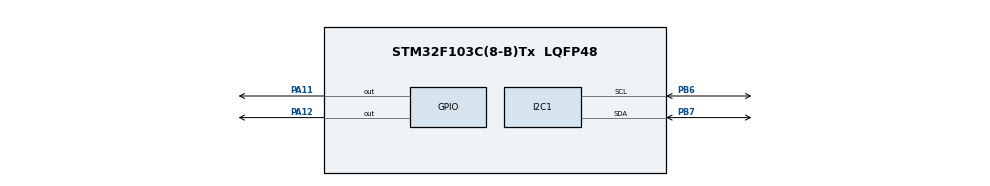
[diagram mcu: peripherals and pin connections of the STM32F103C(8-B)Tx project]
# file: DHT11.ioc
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Mcu.Family=STM32F1
Mcu.Name=STM32F103C(8-B)Tx
Mcu.Package=LQFP48
NVIC.PriorityGroup=NVIC_PRIORITYGROUP_4
PA11.GPIO_Speed=GPIO_SPEED_FREQ_HIGH
PA11.Signal=GPIO_Output
PA12.Signal=GPIO_Output
PA13.Mode=Serial_Wire
PA13.Signal=SYS_JTMS-SWDIO
PA14.Mode=Serial_Wire
PA14.Signal=SYS_JTCK-SWCLK
PB6.GPIO_Mode=GPIO_MODE_AF_OD
PB6.Mode=I2C
PB6.Signal=I2C1_SCL
PB7.GPIO_Mode=GPIO_MODE_AF_OD
PB7.Mode=I2C
PB7.Signal=I2C1_SDA
PD0-OSC_IN.Mode=HSE-External-Oscillator
PD0-OSC_IN.Signal=RCC_OSC_IN
PD1-OSC_OUT.Mode=HSE-External-Oscillator
PD1-OSC_OUT.Signal=RCC_OSC_OUT
ProjectManager.HeapSize=0x200
ProjectManager.StackSize=0x400
ProjectManager.TargetToolchain=STM32CubeIDE
RCC.APB1Freq_Value=8000000
RCC.APB2Freq_Value=8000000
RTC.Format=RTC_FORMAT_BIN
TIM2.AutoReloadPreload=TIM_AUTORELOAD_PRELOAD_ENABLE
TIM2.Period=65535
TIM2.Prescaler=7
VP_RTC_VS_RTC_Activate.Mode=RTC_Enabled
VP_RTC_VS_RTC_Calendar.Mode=RTC_Calendar
VP_TIM2_VS_ClockSourceINT.Mode=Internal
board=custom

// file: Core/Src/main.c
/* USER CODE BEGIN Header */
/**
  ******************************************************************************
  * @file           : main.c
  * @brief          : Main program body
  ******************************************************************************
  * @attention
  *
  * Copyright (c) 2026 STMicroelectronics.
  * All rights reserved.
  *
  * This software is licensed under terms that can be found in the LICENSE file
  * in the root directory of this software component.
  * If no LICENSE file comes with this software, it is provided AS-IS.
  *
  ******************************************************************************
  */
/* USER CODE END Header */
#include "main.h"
#include "i2c.h"
#include "rtc.h"
#include "tim.h"
#include "gpio.h"

/* USER CODE BEGIN Includes */
#include "i2c.h"
#include "tim.h"
#include "gpio.h"
#include <stdio.h>
#include "i2c_lcd.h"
/* USER CODE END Includes */

/* USER CODE BEGIN PV */
uint8_t Rh_byte1, Rh_byte2, Temp_byte1, Temp_byte2;
uint16_t SUM, RH, TEMP;
uint8_t bits[40];
uint8_t data[5] = {0};
int humidity;
int temperature;
I2C_LCD_HandleTypeDef lcd1;
RTC_TimeTypeDef sTime;
RTC_DateTypeDef sDate;
char time_buffer[16];
char date_buffer[16];
/* USER CODE END PV */

void SystemClock_Config(void);
/* USER CODE BEGIN PFP */
void delay_us (uint16_t us);
void set_pin_output (GPIO_TypeDef *GPIOx, uint16_t Pin);
void set_pin_input (GPIO_TypeDef *GPIOx, uint16_t Pin);
//void DHT11_Start (GPIO_TypeDef *GPIOx, uint16_t Pin);
uint8_t DHT11_Start (GPIO_TypeDef *GPIOx, uint16_t Pin);
uint8_t DHT11_Response(GPIO_TypeDef *GPIOx, uint16_t Pin);
uint8_t DHT11_Read (GPIO_TypeDef *GPIOx, uint16_t Pin);
void DHT11_Read_40bits(GPIO_TypeDef *GPIOx, uint16_t Pin);
void DHT11_Bits_To_Bytes();
void convert_to_real_data(uint8_t data[]);
void init_lcd(void);
void Buzzer(GPIO_TypeDef *GPIOx, uint16_t Pin,uint16_t ms);
/* USER CODE END PFP */

int main(void)
{

  /* MCU Configuration--------------------------------------------------------*/

  /* Reset of all peripherals, Initializes the Flash interface and the Systick. */
  HAL_Init();

  /* Configure the system clock */
  SystemClock_Config();

  /* Initialize all configured peripherals */
  MX_GPIO_Init();
  MX_TIM2_Init();
  MX_I2C1_Init();
  MX_RTC_Init();
  /* USER CODE BEGIN 2 */
  HAL_TIM_Base_Start(&htim2); // Kích hoạt Timer 2 ở chế độ đếm cơ bản
  // Khởi tạo lcd
  init_lcd();
  lcd_clear(&lcd1);
  char lcd_buffer[20];

  /* USER CODE END 2 */

  /* Infinite loop */
  /* USER CODE BEGIN WHILE */
  while (1)
  {
	if(DHT11_Start(GPIOA,GPIO_PIN_11))
	{
		__disable_irq();
		DHT11_Read_40bits(GPIOA,GPIO_PIN_11);
		__enable_irq();
		DHT11_Bits_To_Bytes();
		convert_to_real_data(data);
		sprintf(lcd_buffer, "Temperature: %d%cC   ", temperature,0xDF);
		lcd_gotoxy(&lcd1,0, 0);      // Nhảy về dòng 0, cột 0
		lcd_puts(&lcd1,lcd_buffer);
		sprintf(lcd_buffer, "Humidity: %.d%%    ", humidity);
		lcd_gotoxy(&lcd1,0, 1);      // Nhảy về dòng 1, cột 0
		lcd_puts(&lcd1,lcd_buffer);

		HAL_RTC_GetTime(&hrtc, &sTime, RTC_FORMAT_BIN);
		HAL_RTC_GetDate(&hrtc, &sDate, RTC_FORMAT_BIN);

		/* 2. Hiển thị Ngày tháng lên dòng 0 */
		// Định dạng: Ngày/Tháng/Năm
		sprintf(date_buffer, "Date: %02d/%02d/%02d", sDate.Date, sDate.Month, sDate.Year);
		lcd_gotoxy(&lcd1,0, 2);      // Nhảy về dòng 2, cột 0
		lcd_puts(&lcd1,date_buffer);

		/* 3. Hiển thị Giờ phút giây lên dòng 1 */
		// Định dạng: Giờ:Phút:Giây
		sprintf(time_buffer, "Time: %02d:%02d:%02d", sTime.Hours, sTime.Minutes, sTime.Seconds);
		lcd_gotoxy(&lcd1,0, 3);      // Nhảy về dòng 3, cột 0
		lcd_puts(&lcd1,time_buffer);

		/* Buzzer temperature > 30 || humidity < 80 */
		if (temperature > 30 || humidity < 65)
		{
			Buzzer(GPIOA, GPIO_PIN_12, 100);
		}
	}

	HAL_Delay(1000); // đọc 1 giây 1 lần
    /* USER CODE END WHILE */

  }
}

void SystemClock_Config(void)
{
  RCC_OscInitTypeDef RCC_OscInitStruct = {0};
  RCC_ClkInitTypeDef RCC_ClkInitStruct = {0};
  RCC_PeriphCLKInitTypeDef PeriphClkInit = {0};

  /** Initializes the RCC Oscillators according to the specified parameters
  * in the RCC_OscInitTypeDef structure.
  */
  RCC_OscInitStruct.OscillatorType = RCC_OSCILLATORTYPE_HSI|RCC_OSCILLATORTYPE_LSI;
  RCC_OscInitStruct.HSIState = RCC_HSI_ON;
  RCC_OscInitStruct.HSICalibrationValue = RCC_HSICALIBRATION_DEFAULT;
  RCC_OscInitStruct.LSIState = RCC_LSI_ON;
  RCC_OscInitStruct.PLL.PLLState = RCC_PLL_NONE;
  if (HAL_RCC_OscConfig(&RCC_OscInitStruct) != HAL_OK)
  {
    Error_Handler();
  }

  /** Initializes the CPU, AHB and APB buses clocks
  */
  RCC_ClkInitStruct.ClockType = RCC_CLOCKTYPE_HCLK|RCC_CLOCKTYPE_SYSCLK
                              |RCC_CLOCKTYPE_PCLK1|RCC_CLOCKTYPE_PCLK2;
  RCC_ClkInitStruct.SYSCLKSource = RCC_SYSCLKSOURCE_HSI;
  RCC_ClkInitStruct.AHBCLKDivider = RCC_SYSCLK_DIV1;
  RCC_ClkInitStruct.APB1CLKDivider = RCC_HCLK_DIV1;
  RCC_ClkInitStruct.APB2CLKDivider = RCC_HCLK_DIV1;

  if (HAL_RCC_ClockConfig(&RCC_ClkInitStruct, FLASH_LATENCY_0) != HAL_OK)
  {
    Error_Handler();
  }
  PeriphClkInit.PeriphClockSelection = RCC_PERIPHCLK_RTC;
  PeriphClkInit.RTCClockSelection = RCC_RTCCLKSOURCE_LSI;
  if (HAL_RCCEx_PeriphCLKConfig(&PeriphClkInit) != HAL_OK)
  {
    Error_Handler();
  }
}

/* USER CODE BEGIN 4 */

// Delay Micro giây (µs)
void delay_us (uint16_t us)
{
  __HAL_TIM_SET_COUNTER(&htim2, 0);  // Reset counter về 0
  while (__HAL_TIM_GET_COUNTER(&htim2) < us);  // Đợi cho đến khi đạt số us
}

//
void set_pin_output (GPIO_TypeDef *GPIOx, uint16_t Pin)
{
  GPIO_InitTypeDef GPIO_InitStruct = {0};
  GPIO_InitStruct.Pin = Pin;
  GPIO_InitStruct.Mode = GPIO_MODE_OUTPUT_PP;
  GPIO_InitStruct.Speed = GPIO_SPEED_FREQ_LOW;
  HAL_GPIO_Init(GPIOx, &GPIO_InitStruct);
}

void set_pin_input (GPIO_TypeDef *GPIOx, uint16_t Pin)
{
  GPIO_InitTypeDef GPIO_InitStruct = {0};
  GPIO_InitStruct.Pin = Pin;
  GPIO_InitStruct.Mode = GPIO_MODE_INPUT;
  GPIO_InitStruct.Pull = GPIO_PULLUP;
  HAL_GPIO_Init(GPIOx, &GPIO_InitStruct);
}

//đọc dữ liệu DHT11

uint8_t DHT11_Start(GPIO_TypeDef *GPIOx, uint16_t Pin)
{
	uint8_t response = 0;
	uint16_t timeout = 0;
  set_pin_output(GPIOx, Pin);  // Set PA1 là Output
  HAL_GPIO_WritePin (GPIOx, Pin, 0);   // Kéo xuống 0
  HAL_Delay (20);   // Đợi 18ms theo datasheet
  HAL_GPIO_WritePin (GPIOx, Pin, 1);   // Kéo lên 1
  delay_us (20);    // Đợi 30us
  set_pin_input(GPIOx, Pin);    // Chuyển sang Input để nhận phản hồi

  while (!(HAL_GPIO_ReadPin (GPIOx, Pin)) && timeout < 100) {
  		timeout++;
  		delay_us(1);
  	}
//  if(!(HAL_GPIO_ReadPin(GPIOx, Pin)))
//  {
//	  delay_us(80);
	timeout=0;
	while ((HAL_GPIO_ReadPin (GPIOx, Pin)) && timeout < 100) {
		timeout++;
		delay_us(1);
	}
	if(!HAL_GPIO_ReadPin(GPIOx, Pin))
		response = 1;
//		else
//			response = 0;
//  }

  //    while(HAL_GPIO_ReadPin(GPIOx, Pin));  // đợi xuống LOW
//  timeout=0;
//  while ((HAL_GPIO_ReadPin (GPIOx, Pin)) && timeout < 100) {
//	  timeout++;
//	  delay_us(1);
//	}

  return response;

}

uint8_t DHT11_Response(GPIO_TypeDef *GPIOx, uint16_t Pin)
{
    uint8_t response = 0;
    uint16_t timeout = 0;
//    while (HAL_GPIO_ReadPin (GPIOx, Pin) && timeout < 50) {
//        timeout++;
//        delay_us(1);
//      }
//    delay_us(40);
//    while(HAL_GPIO_ReadPin(GPIOx, Pin) && timeout < 100)  // đợi xuống LOW
//    {
//    	timeout++;
//    	delay_us(1);
//    }
//    timeout = 0;
//    while(!(HAL_GPIO_ReadPin(GPIOx, Pin))&& timeout < 100) // đợi HIGH
//    {
//    	timeout++;
//		delay_us(1);
//    }
    if(!(HAL_GPIO_ReadPin(GPIOx, Pin)))
    {
        delay_us(80);
//    	timeout=0;
//    	while (!(HAL_GPIO_ReadPin (GPIOx, Pin)) && timeout < 80) {
//			timeout++;
//			delay_us(1);
//		}
		if(HAL_GPIO_ReadPin(GPIOx, Pin))
			response = 1;
//		else
//			response = 0;
    }

//    while(HAL_GPIO_ReadPin(GPIOx, Pin));  // đợi xuống LOW
    timeout=0;
    while ((HAL_GPIO_ReadPin (GPIOx, Pin)) && timeout < 100) {
        timeout++;
        delay_us(1);
      }

    return response;
}

uint8_t DHT11_Read (GPIO_TypeDef *GPIOx, uint16_t Pin)
{
  uint8_t i = 0, j;
  uint16_t timeout = 0;
  for (j=0; j<8; j++)
  {
//    while (!(HAL_GPIO_ReadPin (GPIOx, Pin)));   // Đợi chân lên 1
	timeout = 0;
	while(!(HAL_GPIO_ReadPin(GPIOx, Pin)) && timeout < 100)
	{
	  timeout++;
	  delay_us(1);
	}
    delay_us (35);   // Đợi 40us
    if (!(HAL_GPIO_ReadPin (GPIOx, Pin)))   // Nếu sau 40us vẫn là 0 -> bit 0
    {
      i &= ~(1<<(7-j));
    }
    else i |= (1<<(7-j));  // Nếu là 1 -> bit 1
//    while ((HAL_GPIO_ReadPin (GPIOx, Pin)));  // Đợi chân xuống 0 lại
    timeout = 0;
    while((HAL_GPIO_ReadPin(GPIOx, Pin)) && timeout < 100)
    {
        timeout++;
        delay_us(1);
    }
  }
  return i;
}

//
void DHT11_Read_40bits(GPIO_TypeDef *GPIOx, uint16_t Pin)
{
    uint16_t timeout;

    for(int i = 0; i < 40; i++)
    {
        // đợi HIGH (bắt đầu bit)
        timeout = 0;
        while(!HAL_GPIO_ReadPin(GPIOx, Pin) && timeout < 100)
        {
            timeout++;
            delay_us(1);
        }

        delay_us(32);  // đọc giữa xung

        if(HAL_GPIO_ReadPin(GPIOx, Pin))
            bits[i] = 1;
        else
            bits[i] = 0;

        // đợi LOW (kết thúc bit)
        timeout = 0;
        while(HAL_GPIO_ReadPin(GPIOx, Pin) && timeout < 100)
        {
            timeout++;
            delay_us(1);
        }
    }
}

void DHT11_Bits_To_Bytes()
{
    for(int i = 0; i < 5; i++)
    {
        data[i] = 0;
        for(int j = 0; j < 8; j++)
        {
            data[i] <<= 1;
            data[i] |= bits[i*8 + j];
        }
    }
}

//
void convert_to_real_data(uint8_t bits[])
{
	if(bits[1]&0X80)	//negative temperature
	{
		humidity = 0-(bits[0]*10+((bits[1]&0x7F)));
	}
	else   //positive temperature
	{
		humidity = bits[0]*10+bits[1];
	}
	if(bits[3]&0X80)	//negative temperature
	{
		temperature = 0-(bits[2]*10+((bits[3]&0x7F)));
	}
	else   //positive temperature
	{
		temperature = bits[2]*10+bits[3];
	}
	//temperature range：-20℃~60℃，humidity range:5％RH~95％RH
	if(humidity>950)
	{
	  humidity=950;
	}
	if(humidity<50)
	{
		humidity=50;
	}
	if(temperature>600)
	{
	  temperature=600;
	}
	if(temperature<-200)
	{
		temperature = -200;
	}
	temperature = temperature/10;//convert to the real temperature value
	humidity = humidity/10; //convert to the real humidity value
}

//
void init_lcd(void) {
    lcd1.hi2c = &hi2c1;     // hi2c1 is your I2C handler
    lcd1.address = 0x4E;    // I2C address for the first LCD
    lcd_init(&lcd1);        // Initialize the first LCD
}

//
void Buzzer(GPIO_TypeDef *GPIOx, uint16_t Pin, uint16_t ms)
{
	HAL_GPIO_WritePin(GPIOx, Pin, GPIO_PIN_SET);   // Bật còi
	HAL_Delay(ms);                                  // Kêu trong bao lâu
	HAL_GPIO_WritePin(GPIOx, Pin, GPIO_PIN_RESET); // Tắt còi
}

/* USER CODE END 4 */

void Error_Handler(void)
{
  __disable_irq();
  while (1)
  {
  }
}
